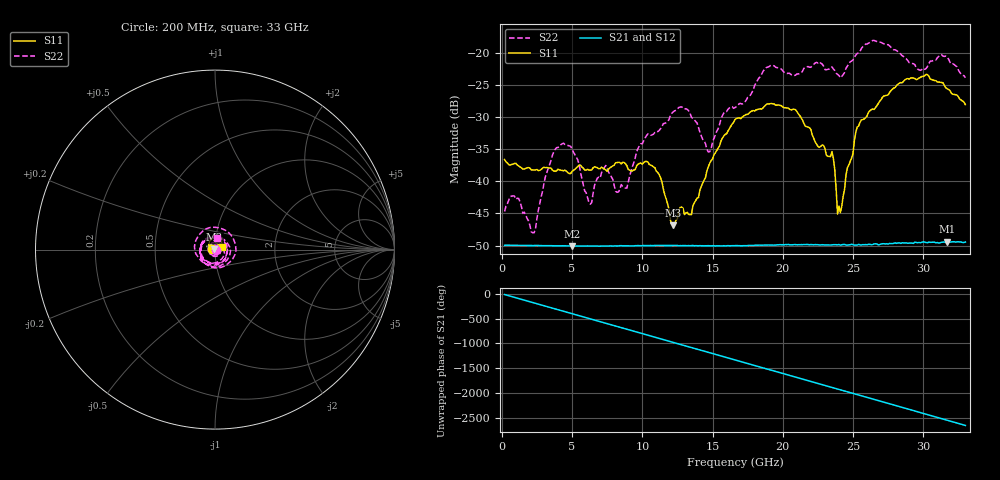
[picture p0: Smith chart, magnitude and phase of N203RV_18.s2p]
# GHZ S RI R 50
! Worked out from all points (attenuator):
!   329 points, 200 MHz to 33 GHz, reference 50 ohm
!   highest |S21| = -49.38 dB at 31.7 GHz (marker M1); lowest = -50.1 dB at 5 GHz (marker M2)
!   lowest |S11| = -46.9 dB at 12.2 GHz (marker M3), VSWR 1.01, Z = 49.6 + j0.267 ohm
!   |S11| at or under -10 dB: start of sweep to end of sweep
!   |S22| runs from -48.0 to -18.0 dB; largest |S21 - S12| = 7.2e-05
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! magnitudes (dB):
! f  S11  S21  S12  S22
! 200 MHz  -36.6  -50.0  -49.9  -44.7
! 1.2 GHz  -37.6  -50.0  -50.0  -42.6
! 2.3 GHz  -38.2  -50.0  -50.0  -48.0
! 3.7 GHz  -38.4  -50.0  -50.0  -35.4
! 5 GHz  -38.4  -50.1  -50.1  -34.9
! 5.7 GHz  -37.7  -50.1  -50.1  -39.5
! 6.3 GHz  -38.2  -50.1  -50.1  -43.5
! 7.4 GHz  -38.2  -50.1  -50.1  -37.5
! 8.9 GHz  -37.5  -50.1  -50.0  -41.0
! 11.2 GHz  -38.9  -50.0  -50.0  -32.0
! 12.2 GHz  -46.9  -50.0  -50.0  -29.1
! 14.7 GHz  -37.7  -50.0  -50.0  -35.4
! 16.6 GHz  -30.3  -50.0  -50.0  -28.5
! 19.3 GHz  -27.9  -49.9  -49.9  -21.9
! 22.1 GHz  -32.7  -49.9  -49.8  -21.9
! 23.5 GHz  -35.3  -49.9  -49.9  -22.1
! 23.9 GHz  -45.1  -49.9  -49.9  -23.3
! 24.1 GHz  -44.9  -49.9  -49.9  -23.8
! 25.3 GHz  -31.5  -49.9  -49.9  -20.0
! 27.6 GHz  -26.1  -49.7  -49.7  -18.8
! 31.7 GHz  -25.5  -49.4  -49.5  -20.6
! 33 GHz  -28.0  -49.5  -49.5  -23.8
